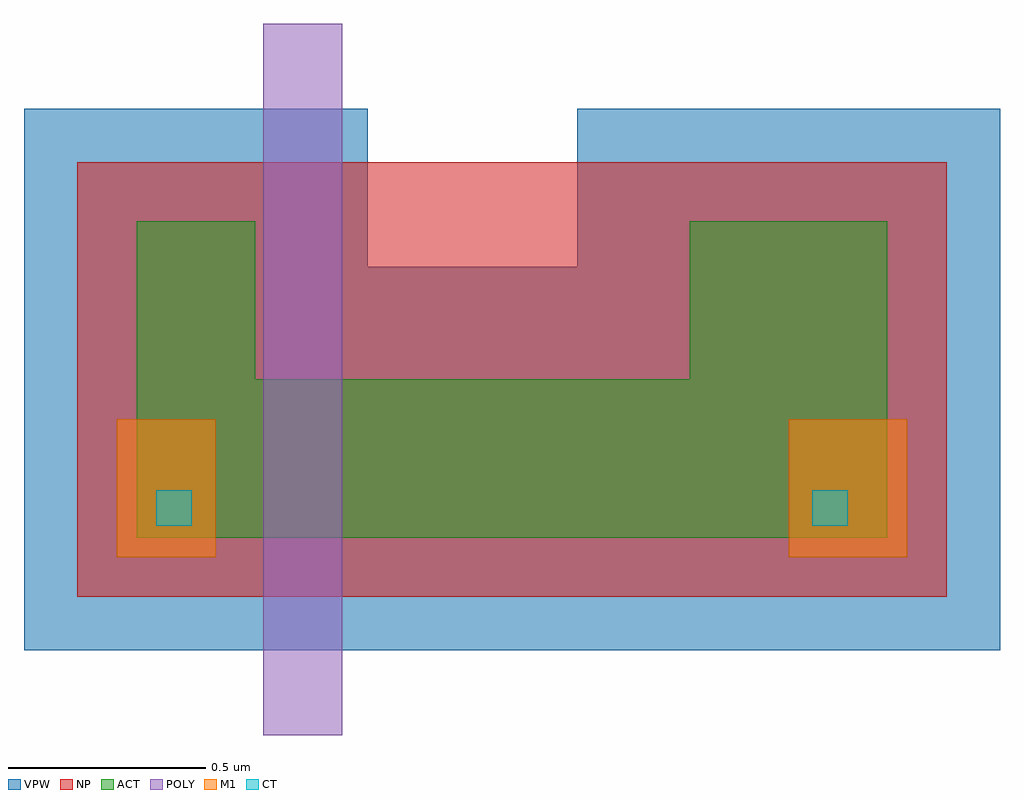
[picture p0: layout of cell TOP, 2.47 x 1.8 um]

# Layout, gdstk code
import gdstk
lib = gdstk.Library(unit=1e-6, precision=1e-09)
def R(c, l, rs):  # rectangles x0, y0, x1, y1
    for r in rs: c.add(gdstk.rectangle(r[:2], r[2:], *l))
def P(c, l, *ps):  # polygons
    for p in ps: c.add(gdstk.Polygon(p, *l))
ACT = (2, 1)
POLY = (41, 1)
NP = (52, 1)
CT = (72, 1)
M1 = (81, 1)
VPW = (261, 12)

top = lib.new_cell('TOP')
P(top, ACT, [(0,0),(0,0.8),(0.3,0.8),(0.3,0.4),(1.4,0.4),(1.4,0.8),(1.9,0.8),(1.9,0)])
R(top, POLY, [(0.32,-0.5,0.52,1.3)])
R(top, NP, [(-0.15,-0.15,2.05,0.95)])
R(top, CT, [(0.05,0.03,0.14,0.12), (1.71,0.03,1.8,0.12)])
R(top, M1, [(-0.05,-0.05,0.2,0.3), (1.65,-0.05,1.95,0.3)])
P(top, VPW, [(-0.285,-0.285),(-0.285,1.085),(0.585,1.085),(0.585,0.685),(1.115,0.685),(1.115,1.085),(2.185,1.085),(2.185,-0.285)])

lib.write_gds('TOP.gds')
